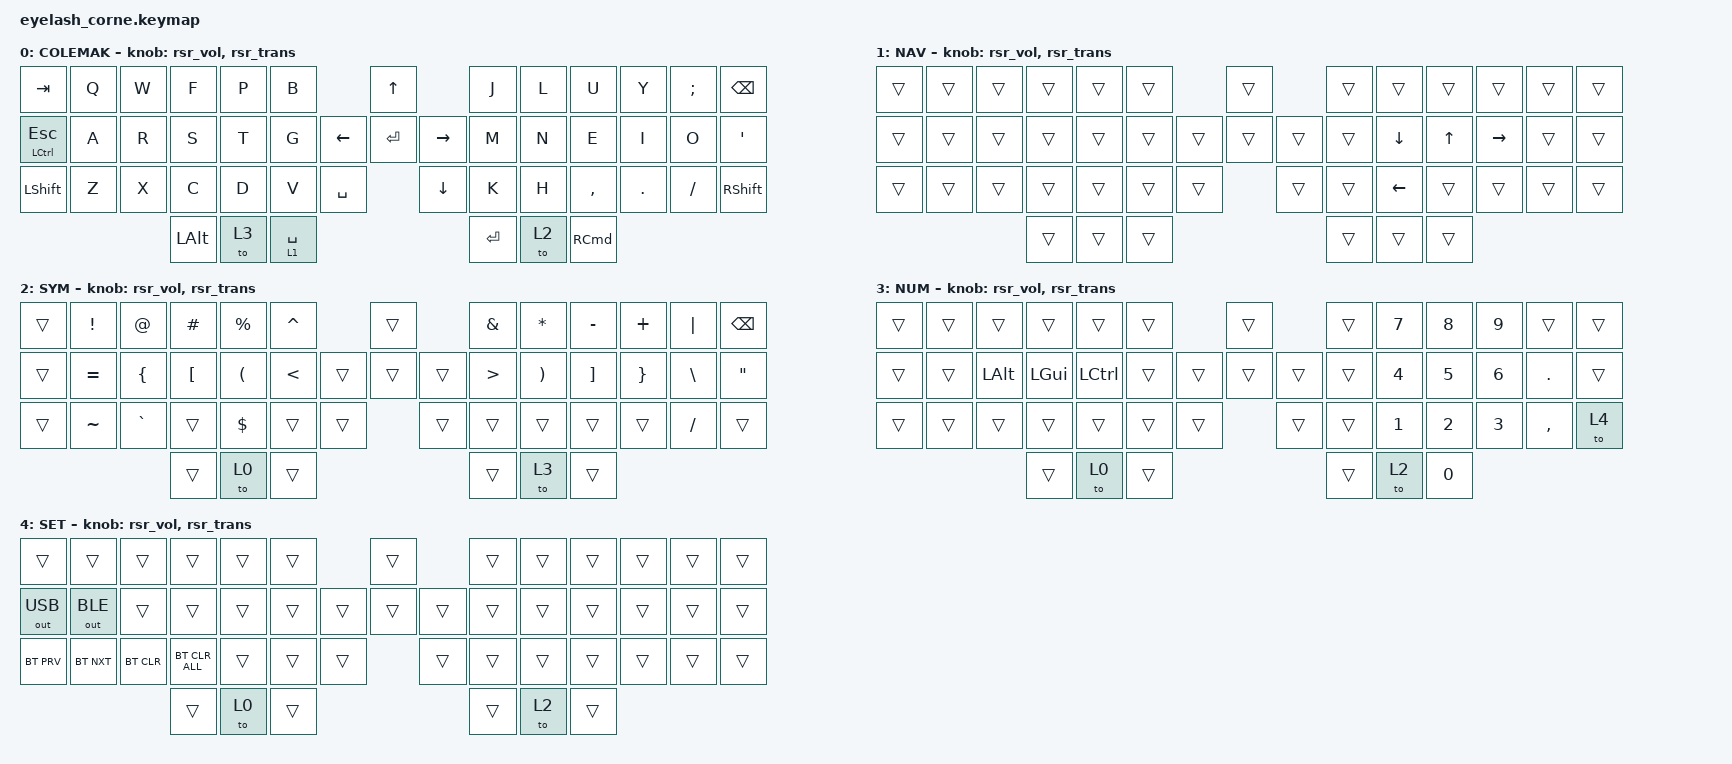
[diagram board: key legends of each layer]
#include <behaviors.dtsi>
#include <behaviors/runtime-sensor-rotate.dtsi>
#include <dt-bindings/zmk/bt.h>
#include <dt-bindings/zmk/keys.h>
#include <dt-bindings/zmk/outputs.h>

&soft_off { hold-time-ms = <2000>; };

#define CTRL_ESC &ht_tp LEFT_CONTROL ESC

/ {
    behaviors {
        ht_tp: tap-unless-interrupted {
            compatible = "zmk,behavior-hold-tap";
            #binding-cells = <2>;
            flavor = "tap-unless-interrupted";
            tapping-term-ms = <1000>;
            bindings = <&kp>, <&kp>;
        };
        td0: td0 {
            compatible = "zmk,behavior-tap-dance";
            display-name = "Shift/Caps Lock Tap Dance";
            #binding-cells = <0>;
            bindings = <&kp LEFT_SHIFT>, <&kp CAPS>;
        };

        rsr_vol: rsr_vol {
            compatible = "zmk,behavior-runtime-sensor-rotate";
            #sensor-binding-cells = <0>;
            tap-ms = <5>;
            cw-binding = <&kp C_VOL_UP>;
            ccw-binding = <&kp C_VOL_DN>;
        };

        rsr_trans: rsr_trans {
            compatible = "zmk,behavior-runtime-sensor-rotate";
            #sensor-binding-cells = <0>;
            tap-ms = <0>;
        };

        ht_nav: ht_nav {
            compatible = "zmk,behavior-hold-tap";
            #binding-cells = <2>;
            flavor = "tap-unless-interrupted";
            tapping-term-ms = <500>;
            bindings = <&mo>, <&kp>;
        };

    };

    combos {
        compatible = "zmk,combos";

        softoff {
            bindings = <&soft_off>;
            key-positions = <1 15 29>;
        };
    };

    keymap {
        compatible = "zmk,keymap";

        // Layer 0
        default_layer {
            display-name = "COLEMAK";
            bindings = <
  &kp TAB    &kp Q  &kp W  &kp F    &kp P  &kp B            &kp UP                &kp J   &kp L  &kp U      &kp Y    &kp SEMI  &kp BSPC
  CTRL_ESC   &kp A  &kp R  &kp S    &kp T  &kp G  &kp LEFT  &kp ENTER  &kp RIGHT  &kp M   &kp N  &kp E      &kp I    &kp O     &kp SQT
  &kp LSHIFT &kp Z  &kp X  &kp C    &kp D  &kp V  &kp SPACE            &kp DOWN   &kp K   &kp H  &kp COMMA  &kp DOT  &kp FSLH  &kp RSHIFT
                           &kp LALT &to 3  &ht_nav 1 SPACE                        &kp RET &to 2  &kp RIGHT_COMMAND
            >;

            sensor-bindings = <&rsr_vol &rsr_trans>;
        };

        // Layer 1
        nav_layer {
            display-name = "NAV";
            bindings = <
  &trans  &trans  &trans  &trans  &trans  &trans          &trans              &trans  &trans    &trans    &trans     &trans  &trans
  &trans  &trans  &trans  &trans  &trans  &trans  &trans  &trans  &trans      &trans  &kp DOWN  &kp UP    &kp RIGHT  &trans  &trans
  &trans  &trans  &trans  &trans  &trans  &trans  &trans          &trans      &trans  &kp LEFT  &trans    &trans     &trans  &trans
                          &trans  &trans  &trans                              &trans  &trans    &trans
            >;

            sensor-bindings = <&rsr_vol &rsr_trans>;
        };

        // Layer 2
        sym_layer {
            display-name = "SYM";
            bindings = <
  &trans  &kp EXCL   &kp AT     &kp HASH  &kp PRCNT  &kp CARET          &trans              &kp AMPS  &kp ASTRK  &kp MINUS  &kp PLUS   &kp PIPE  &kp BSPC
  &trans  &kp EQUAL  &kp LBRC   &kp LBKT  &kp LPAR   &kp LT    &trans  &trans  &trans      &kp GT    &kp RPAR   &kp RBKT   &kp RBRC   &kp BSLH  &kp DQT
  &trans  &kp TILDE  &kp GRAVE  &trans    &kp DLLR   &trans    &trans          &trans      &trans    &trans     &trans     &trans     &kp FSLH  &trans
                                &trans    &to 0      &trans                                &trans    &to 3      &trans
            >;

            sensor-bindings = <&rsr_vol &rsr_trans>;
        };

        // Layer 3
        num_layer {
            display-name = "NUM";
            bindings = <
  &trans  &trans  &trans  &trans     &trans     &trans          &trans              &trans  &kp N7  &kp N8  &kp N9  &trans     &trans
  &trans  &trans  &kp LALT &kp LGUI   &kp LCTRL  &trans  &trans  &trans  &trans      &trans  &kp N4  &kp N5  &kp N6  &kp DOT    &trans
  &trans  &trans  &trans  &trans     &trans     &trans  &trans          &trans      &trans  &kp N1  &kp N2  &kp N3  &kp COMMA  &to 4
                          &trans     &to 0      &trans                              &trans  &to 2   &kp N0
            >;

            sensor-bindings = <&rsr_vol &rsr_trans>;
        };

        // Layer 4
        set_layer {
            display-name = "SET";
            bindings = <
  &trans        &trans        &trans      &trans          &trans  &trans          &trans              &trans  &trans  &trans  &trans  &trans  &trans
  &out OUT_USB  &out OUT_BLE  &trans      &trans          &trans  &trans  &trans  &trans  &trans      &trans  &trans  &trans  &trans  &trans  &trans
  &bt BT_PRV    &bt BT_NXT    &bt BT_CLR  &bt BT_CLR_ALL  &trans  &trans  &trans          &trans      &trans  &trans  &trans  &trans  &trans  &trans
                              &trans      &to 0           &trans                          &trans  &to 2   &trans
            >;

            sensor-bindings = <&rsr_vol &rsr_trans>;
        };

    };
};
